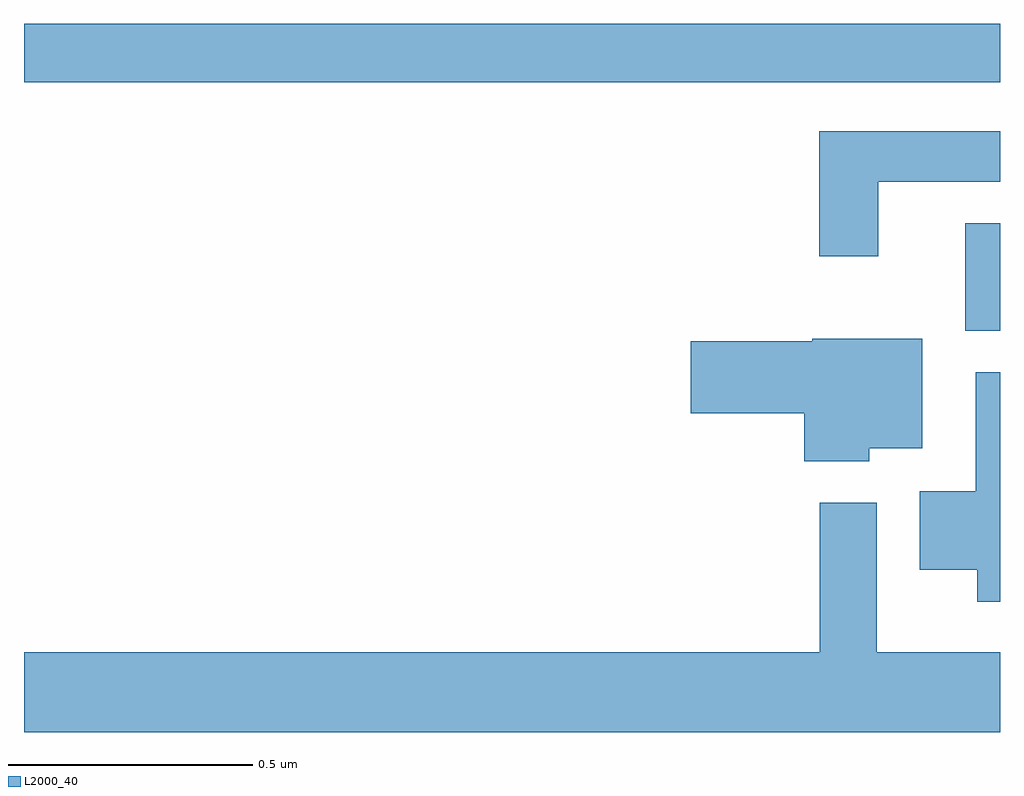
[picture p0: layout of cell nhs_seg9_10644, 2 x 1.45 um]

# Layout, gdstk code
import gdstk
lib = gdstk.Library(unit=1e-6, precision=1e-09)
def R(c, l, rs):  # rectangles x0, y0, x1, y1
    for r in rs: c.add(gdstk.rectangle(r[:2], r[2:], *l))
def P(c, l, *ps):  # polygons
    for p in ps: c.add(gdstk.Polygon(p, *l))
L2000_40 = (2000, 40)

nhs_seg9_10644 = lib.new_cell('nhs_seg9_10644')
R(nhs_seg9_10644, L2000_40, [(246.929,1235.871,247,1236.091), (245,1236.38,247,1236.5)])
P(nhs_seg9_10644, L2000_40, [(246.751,1236.176),(247,1236.176),(247,1236.28),(246.63,1236.28),(246.63,1236.024),(246.751,1236.024)],
  [(246.732,1235.63),(246.841,1235.63),(246.841,1235.854),(246.615,1235.854),(246.615,1235.849),(246.366,1235.849),(246.366,1235.702),(246.599,1235.702),(246.599,1235.603),(246.732,1235.603)],
  [(247,1235.786),(246.95,1235.786),(246.95,1235.542),(246.836,1235.542),(246.836,1235.381),(246.953,1235.381),(246.953,1235.316),(247,1235.316)],
  [(247,1235.212),(246.747,1235.212),(246.747,1235.518),(246.631,1235.518),(246.631,1235.212),(245,1235.212),(245,1235.048),(247,1235.048)])

lib.write_gds('nhs_seg9_10644.gds')
